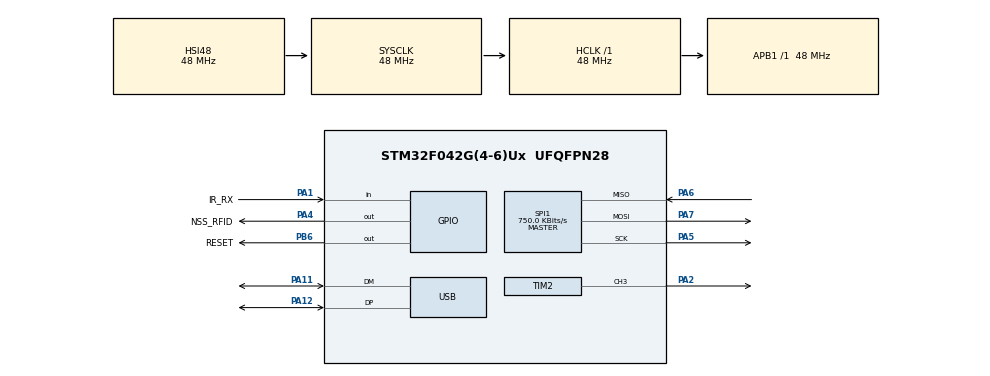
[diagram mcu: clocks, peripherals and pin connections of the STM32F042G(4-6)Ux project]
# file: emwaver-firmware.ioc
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Mcu.Family=STM32F0
Mcu.Name=STM32F042G(4-6)Ux
Mcu.Package=UFQFPN28
NVIC.TIM3_IRQn=true\:0\:0\:false\:false\:true\:true\:true\:true
NVIC.USB_IRQn=true\:3\:0\:true\:false\:true\:false\:true\:true
PA1.GPIO_Label=IR_RX
PA1.Signal=GPIO_Input
PA11.Mode=Device
PA11.Signal=USB_DM
PA12.Mode=Device
PA12.Signal=USB_DP
PA2.GPIO_PuPd=GPIO_PULLDOWN
PA2.Signal=S_TIM2_CH3
PA4.GPIO_Label=NSS_RFID
PA4.PinState=GPIO_PIN_SET
PA4.Signal=GPIO_Output
PA5.Mode=Full_Duplex_Master
PA5.Signal=SPI1_SCK
PA6.Mode=Full_Duplex_Master
PA6.Signal=SPI1_MISO
PA7.Mode=Full_Duplex_Master
PA7.Signal=SPI1_MOSI
PB6.GPIO_Label=RESET
PB6.Signal=GPIO_Output
ProjectManager.HeapSize=0x200
ProjectManager.StackSize=0x400
ProjectManager.TargetToolchain=STM32CubeIDE
RCC.AHBFreq_Value=48000000
RCC.APB1Freq_Value=48000000
RCC.APB1TimFreq_Value=48000000
RCC.HCLKFreq_Value=48000000
RCC.SYSCLKFreq_VALUE=48000000
RCC.SYSCLKSource=RCC_SYSCLKSOURCE_HSI48
SH.S_TIM2_CH3.0=TIM2_CH3,PWM Generation3 CH3
SPI1.BaudRatePrescaler=SPI_BAUDRATEPRESCALER_64
SPI1.CalculateBaudRate=750.0 KBits/s
SPI1.DataSize=SPI_DATASIZE_8BIT
SPI1.Direction=SPI_DIRECTION_2LINES
SPI1.Mode=SPI_MODE_MASTER
SPI1.VirtualType=VM_MASTER
TIM1.Period=0xFFFF - 1
TIM1.Prescaler=48-1
TIM2.Channel-PWM\ Generation3\ CH3=TIM_CHANNEL_3
TIM2.Period=1263-1
TIM2.Pulse-PWM\ Generation3\ CH3=(1263-1)/2
TIM3.Period=480-1
USB_DEVICE.APP_RX_DATA_SIZE=64
USB_DEVICE.APP_TX_DATA_SIZE=64
USB_DEVICE.CLASS_NAME_FS=CDC
USB_DEVICE.VirtualMode=Cdc
USB_DEVICE.VirtualModeFS=Cdc_FS
VP_SYS_VS_PINREMAP.Mode=PINREMAP
VP_TIM1_VS_ClockSourceINT.Mode=Internal
VP_TIM2_VS_ClockSourceINT.Mode=Internal
VP_TIM3_VS_ClockSourceINT.Mode=Internal
VP_USB_DEVICE_VS_USB_DEVICE_CDC_FS.Mode=CDC_FS
board=custom

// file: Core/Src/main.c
/* USER CODE BEGIN Header */
/**
  ******************************************************************************
  * @file           : main.c
  * @brief          : Main program body
  ******************************************************************************
  * @attention
  *
  * Copyright (c) 2024 STMicroelectronics.
  * All rights reserved.
  *
  * This software is licensed under terms that can be found in the LICENSE file
  * in the root directory of this software component.
  * If no LICENSE file comes with this software, it is provided AS-IS.
  *
  ******************************************************************************
  *
  * EMWaver modifications
  * Copyright (c) 2026 Luís Marnoto
*/
/* USER CODE END Header */
#include "main.h"
#include "usb_device.h"

/* USER CODE BEGIN Includes */
#include <stdlib.h>
#include <string.h>
#include <stdbool.h>
#include <stdint.h>
#include "usbd_cdc_if.h"
#include "cc1101.h"
/* USER CODE END Includes */

/* USER CODE BEGIN PD */
#define CDC_TIMEOUT 100
#define EMWAVER_FIRMWARE_WELCOME "Welcome to ISM Waver firmware"
#define EMWAVER_FIRMWARE_VERSION "1.0.0"
/* USER CODE END PD */

SPI_HandleTypeDef hspi1;

TIM_HandleTypeDef htim1;
TIM_HandleTypeDef htim2;
TIM_HandleTypeDef htim3;

/* USER CODE BEGIN PV */
static GPIO_TypeDef *samplerPort = GPIOA;
static uint16_t samplerPin = GPIO_PIN_0;
volatile uint32_t selectedChannel = TIM_CHANNEL_3; // Default to channel 3 for backward compatibility

uint8_t * bulk_packet = NULL;
size_t bulk_packet_len = 0;

volatile uint8_t* bufferA = NULL;
volatile uint8_t* bufferB = NULL;
volatile uint8_t* currentBuffer = NULL;
volatile uint8_t* transmitBuffer = NULL;
volatile int bufferIndex = 0;
volatile uint8_t bufferReady = 0;

volatile CDC_Buffer_Type cdc_buf_type = CDC_BUFFER_PACKET;
/* USER CODE END PV */

void SystemClock_Config(void);
static void MX_GPIO_Init(void);
static void MX_TIM2_Init(void);
static void MX_TIM1_Init(void);
static void MX_TIM3_Init(void);
static void MX_SPI1_Init(void);

/* USER CODE BEGIN 0 */

#define ISM_BURST_MAX 64u

typedef enum {
    ISM_MODE_IDLE = 0,
    ISM_MODE_RAW_SAMPLING = 1,
} ism_mode_t;

static volatile ism_mode_t ism_mode = ISM_MODE_IDLE;

static void free_bulk_packet(void)
{
    if (bulk_packet != NULL) {
        free(bulk_packet);
        bulk_packet = NULL;
        bulk_packet_len = 0;
    }
}

static void command_send_ok(const uint8_t *data, size_t len)
{
    if (!data || len == 0) {
        uint8_t packet[64] = {0};
        packet[0] = 0x00;
        (void)CDC_SendResponsePkt_FS(packet, (uint16_t)sizeof(packet), CDC_TIMEOUT);
        return;
    }

    size_t offset = 0;
    while (offset < len) {
        uint8_t packet[64] = {0};
        size_t chunk = len - offset;
        if (chunk > sizeof(packet)) {
            chunk = sizeof(packet);
        }
        memcpy(packet, data + offset, chunk);
        (void)CDC_SendResponsePkt_FS(packet, (uint16_t)sizeof(packet), CDC_TIMEOUT);
        offset += chunk;
    }
}

static void command_send_err(const char *msg)
{
    (void)msg;
    // Match the registry firmware behavior: errors are best-effort no-ops.
    const uint8_t packet[64] = {0};
    (void)CDC_SendResponsePkt_FS((uint8_t *)packet, (uint16_t)sizeof(packet), CDC_TIMEOUT);
}

static void ISR_Sampler_raw(void)
{
    static uint8_t bitIndex = 0;
    static uint8_t currentByte = 0;

    uint8_t pin_state = HAL_GPIO_ReadPin(samplerPort, samplerPin);

    if (pin_state) {
        currentByte |= (uint8_t)(1u << bitIndex);
    } else {
        currentByte &= (uint8_t)~(1u << bitIndex);
    }

    bitIndex++;
    if (bitIndex >= 8) {
        currentBuffer[bufferIndex] = currentByte;
        bufferIndex++;
        bitIndex = 0;
        currentByte = 0;

        if (bufferIndex >= 64) {
            transmitBuffer = currentBuffer;
            currentBuffer = (currentBuffer == bufferA) ? bufferB : bufferA;
            bufferIndex = 0;
            bufferReady = 1;
        }
    }
}

static void startPWM_TIM2(uint32_t channel)
{
    TIM2->CR1 |= TIM_CR1_CEN;
    switch (channel) {
        case TIM_CHANNEL_1:
            TIM2->CCER |= TIM_CCER_CC1E;
            break;
        case TIM_CHANNEL_2:
            TIM2->CCER |= TIM_CCER_CC2E;
            break;
        case TIM_CHANNEL_3:
            TIM2->CCER |= TIM_CCER_CC3E;
            break;
        case TIM_CHANNEL_4:
            TIM2->CCER |= TIM_CCER_CC4E;
            break;
        default:
            break;
    }
}

static void stopPWM_TIM2(uint32_t channel)
{
    switch (channel) {
        case TIM_CHANNEL_1:
            TIM2->CCER &= (uint16_t)~TIM_CCER_CC1E;
            break;
        case TIM_CHANNEL_2:
            TIM2->CCER &= (uint16_t)~TIM_CCER_CC2E;
            break;
        case TIM_CHANNEL_3:
            TIM2->CCER &= (uint16_t)~TIM_CCER_CC3E;
            break;
        case TIM_CHANNEL_4:
            TIM2->CCER &= (uint16_t)~TIM_CCER_CC4E;
            break;
        default:
            break;
    }
}

static void ISR_Sampler_writing(void)
{
    static uint8_t bitIndex = 0;
    static uint8_t currentByte = 0;

    if (CDC_GetRxBufferBytesAvailable_FS() > 0) {
        if (bitIndex == 0) {
            (void)CDC_ReadRxBuffer_FS(&currentByte, 1);
        }

        if (currentByte & (uint8_t)(1u << bitIndex)) {
            startPWM_TIM2(selectedChannel);
        } else {
            stopPWM_TIM2(selectedChannel);
        }

        bitIndex++;
        if (bitIndex > 7) {
            bitIndex = 0;
        }
    } else {
        stopPWM_TIM2(selectedChannel);
    }
}

void HAL_TIM_PeriodElapsedCallback(TIM_HandleTypeDef *htim)
{
    if (htim == &htim3) {
        switch (CDC_GetBufferType_FS()) {
            case CDC_BUFFER_CIRCULAR:
                ISR_Sampler_writing();
                break;
            case CDC_BUFFER_DOUBLE:
                ISR_Sampler_raw();
                break;
            case CDC_BUFFER_PACKET:
            default:
                break;
        }
    }
}

static void enable_gpio_clock(GPIO_TypeDef *port)
{
    if (port == GPIOA) {
        __HAL_RCC_GPIOA_CLK_ENABLE();
    } else if (port == GPIOB) {
        __HAL_RCC_GPIOB_CLK_ENABLE();
    }
}

static void configurePin(GPIO_TypeDef *port, uint16_t pin, uint32_t mode, uint32_t pull)
{
    GPIO_InitTypeDef GPIO_InitStruct = {0};

    enable_gpio_clock(port);
    GPIO_InitStruct.Pin = pin;
    GPIO_InitStruct.Mode = mode;
    GPIO_InitStruct.Pull = pull;
    GPIO_InitStruct.Speed = GPIO_SPEED_FREQ_HIGH;
    if (mode == GPIO_MODE_AF_PP) {
        GPIO_InitStruct.Alternate = GPIO_AF2_TIM2;
    }
    HAL_GPIO_Init(port, &GPIO_InitStruct);
}

static void setDutyCycle_TIM2(uint32_t channel, uint8_t percentage)
{
    if (percentage < 1) percentage = 1;
    if (percentage > 100) percentage = 100;

    uint32_t period = TIM2->ARR;
    uint32_t new_ccr = (period * (uint32_t)percentage) / 100u;
    if (percentage >= 100) {
        // Ensure the output stays high for the full period.
        new_ccr = period + 1u;
    }

    switch (channel) {
        case TIM_CHANNEL_1:
            TIM2->CCR1 = new_ccr;
            break;
        case TIM_CHANNEL_2:
            TIM2->CCR2 = new_ccr;
            break;
        case TIM_CHANNEL_3:
            TIM2->CCR3 = new_ccr;
            break;
        case TIM_CHANNEL_4:
            TIM2->CCR4 = new_ccr;
            break;
        default:
            break;
    }
}

static bool setFrequency_TIM2(uint32_t freq_hz)
{
    if (freq_hz < 1u) {
        return false;
    }

    uint32_t timer_clk_hz = HAL_RCC_GetHCLKFreq();
    if (timer_clk_hz == 0u) {
        return false;
    }

    uint32_t ticks = timer_clk_hz / freq_hz;
    if (ticks < 1u) {
        return false;
    }

    // PWM frequency = timer_clk / (PSC+1) / (ARR+1). Keep PSC=0 and set ARR.
    uint32_t period = ticks - 1u;
    TIM2->PSC = 0u;
    TIM2->ARR = period;
    TIM2->EGR = TIM_EGR_UG;
    return true;
}

static void stop_sampling(void)
{
    HAL_TIM_Base_Stop_IT(&htim3);
    CDC_SetBufferType_FS(CDC_BUFFER_PACKET);

    free((void *)bufferA);
    free((void *)bufferB);
    bufferA = NULL;
    bufferB = NULL;
    currentBuffer = NULL;
    transmitBuffer = NULL;
    bufferIndex = 0;
    bufferReady = 0;
    ism_mode = ISM_MODE_IDLE;
}

static bool decode_encoded_pin(int encoded, GPIO_TypeDef **out_port, uint16_t *out_pin)
{
    if (!out_port || !out_pin) {
        return false;
    }
    if (encoded >= 0 && encoded <= 15) {
        *out_port = GPIOA;
        *out_pin = (uint16_t)(1u << encoded);
        return true;
    }
    if (encoded >= 16 && encoded <= 31) {
        *out_port = GPIOB;
        *out_pin = (uint16_t)(1u << (encoded - 16));
        return true;
    }
    return false;
}

static bool pin_mask_to_index(uint16_t pin_mask, uint8_t *out_index)
{
    if (!out_index) {
        return false;
    }
    if (pin_mask == 0) {
        return false;
    }
    for (uint8_t i = 0; i < 16; i++) {
        if (pin_mask == (uint16_t)(1u << i)) {
            *out_index = i;
            return true;
        }
    }
    return false;
}

static void gpio_write_latch(GPIO_TypeDef *port, uint16_t pin_mask, bool value)
{
    if (!port) {
        return;
    }
    if (value) {
        port->BSRR = pin_mask;
    } else {
        port->BSRR = (uint32_t)pin_mask << 16;
    }
}

static void disable_tim2_output_if_needed(GPIO_TypeDef *port, uint8_t pin_index)
{
    if (port != GPIOA) {
        return;
    }

    uint32_t channel = 0;
    uint16_t ccer_mask = 0;
    switch (pin_index) {
        case 0:
            channel = TIM_CHANNEL_1;
            ccer_mask = TIM_CCER_CC1E;
            break;
        case 1:
            channel = TIM_CHANNEL_2;
            ccer_mask = TIM_CCER_CC2E;
            break;
        case 2:
            channel = TIM_CHANNEL_3;
            ccer_mask = TIM_CCER_CC3E;
            break;
        case 3:
            channel = TIM_CHANNEL_4;
            ccer_mask = TIM_CCER_CC4E;
            break;
        default:
            return;
    }

    TIM2->CCER &= (uint16_t)~ccer_mask;
    (void)HAL_TIM_PWM_Stop(&htim2, channel);
}

static void gpio_set_mode(GPIO_TypeDef *port, uint16_t pin_mask, uint32_t mode, uint32_t pull)
{
    if (!port) {
        return;
    }
    enable_gpio_clock(port);
    HAL_GPIO_DeInit(port, pin_mask);
    configurePin(port, pin_mask, mode, pull);
}

// Minimal CLI parsing (copied/adapted from stm/emwaver-firmware command_registry.c).
#define CLI_MAX_ARGS 10
#define CLI_MAX_POSITIONAL 4
#define CLI_COMMAND_BUFFER 256

typedef struct {
    const char *key;
    const char *value;
} cli_arg_view_t;

typedef struct {
    char *verb;
    cli_arg_view_t args[CLI_MAX_ARGS];
    size_t arg_count;
    char *positional[CLI_MAX_POSITIONAL];
    size_t positional_count;
} cli_command_view_t;

static bool is_cli_space(char ch)
{
    return ch == ' ' || ch == '\t' || ch == '\r' || ch == '\n';
}

static char *next_token(char **cursor)
{
    if (!cursor || !*cursor) {
        return NULL;
    }

    char *p = *cursor;
    while (*p && is_cli_space(*p)) {
        p++;
    }
    if (!*p) {
        *cursor = p;
        return NULL;
    }

    char *start = p;
    while (*p && !is_cli_space(*p)) {
        p++;
    }
    if (*p) {
        *p = '\0';
        p++;
    }
    *cursor = p;
    return start;
}

static bool parse_cli_command_inplace(char *line, cli_command_view_t *out)
{
    if (!line || !out) {
        return false;
    }

    memset(out, 0, sizeof(*out));

    char *cursor = line;
    char *verb = next_token(&cursor);
    if (!verb) {
        return false;
    }
    out->verb = verb;

    char *pending = NULL;
    while (1) {
        char *token = pending ? pending : next_token(&cursor);
        pending = NULL;
        if (!token) {
            break;
        }

        if (strncmp(token, "--", 2) == 0) {
            char *key = token + 2;
            const char *value = NULL;
            char *eq = strchr(key, '=');
            if (eq) {
                *eq = '\0';
                value = eq + 1;
            } else {
                char *next = next_token(&cursor);
                if (!next) {
                    value = "1";
                } else if (strncmp(next, "--", 2) == 0) {
                    value = "1";
                    pending = next;
                } else {
                    value = next;
                }
            }
            if (out->arg_count < CLI_MAX_ARGS) {
                out->args[out->arg_count].key = key;
                out->args[out->arg_count].value = value ? value : "";
                out->arg_count++;
            }
        } else {
            if (out->positional_count < CLI_MAX_POSITIONAL) {
                out->positional[out->positional_count] = token;
                out->positional_count++;
            }
        }
    }

    return true;
}

static const char *cli_get_arg_view(const cli_command_view_t *cmd, const char *key)
{
    if (!cmd || !key) {
        return NULL;
    }
    for (size_t i = 0; i < cmd->arg_count; ++i) {
        if (cmd->args[i].key && strcmp(cmd->args[i].key, key) == 0) {
            return cmd->args[i].value;
        }
    }
    return NULL;
}

static bool cli_parse_int(const char *str, int *out_value)
{
    if (!str || !out_value) {
        return false;
    }
    char *end = NULL;
    long value = strtol(str, &end, 0);
    if (end == str || (end && *end != '\0')) {
        return false;
    }
    *out_value = (int)value;
    return true;
}

static int from_hex(char c)
{
    if (c >= '0' && c <= '9') return c - '0';
    if (c >= 'a' && c <= 'f') return 10 + (c - 'a');
    if (c >= 'A' && c <= 'F') return 10 + (c - 'A');
    return -1;
}

static bool cli_parse_hex_bytes(const char *str, uint8_t *out, size_t max_len, size_t *out_len)
{
    if (!str || !out || !out_len) {
        return false;
    }

    size_t written = 0;
    int pending = -1;

    for (const char *p = str; *p; ++p) {
        char c = *p;

        if (c == '0' && (p[1] == 'x' || p[1] == 'X')) {
            ++p;
            continue;
        }

        if (c == ' ' || c == '\t' || c == '\r' || c == '\n' || c == ',' || c == ':' || c == '_' || c == '-') {
            continue;
        }

        int nib = from_hex(c);
        if (nib < 0) {
            return false;
        }

        if (pending < 0) {
            pending = nib;
        } else {
            if (written >= max_len) {
                return false;
            }
            out[written++] = (uint8_t)((pending << 4) | nib);
            pending = -1;
        }
    }

    if (pending >= 0) {
        return false;
    }

    *out_len = written;
    return true;
}

static bool cc1101_set_modulation_and_power(int modulation, int dbm)
{
    // Copied from stm/emwaver-firmware (command-driven CC1101 implementation).
    static const int power_levels[8] = {-30, -20, -15, -10, 0, 5, 7, 10};
    static const uint8_t power_315[8] = {0x12, 0x0D, 0x1C, 0x34, 0x51, 0x85, 0xCB, 0xC2};
    static const uint8_t power_433[8] = {0x12, 0x0E, 0x1D, 0x34, 0x60, 0x84, 0xC8, 0xC0};
    static const uint8_t power_868[8] = {0x03, 0x0F, 0x1E, 0x27, 0x50, 0x81, 0xCB, 0xC2};
    static const uint8_t power_915[8] = {0x03, 0x0E, 0x1E, 0x27, 0x8E, 0xCD, 0xC7, 0xC0};

    int power_index = -1;
    for (int i = 0; i < 8; i++) {
        if (power_levels[i] == dbm) {
            power_index = i;
            break;
        }
    }
    if (power_index < 0) {
        return false;
    }

    const uint8_t freq2 = cc1101_read_reg(0x0D);
    const uint8_t freq1 = cc1101_read_reg(0x0E);
    const uint8_t freq0 = cc1101_read_reg(0x0F);
    const uint32_t freq_word = ((uint32_t)freq2 << 16) | ((uint32_t)freq1 << 8) | (uint32_t)freq0;
    const uint32_t freq_hz = (uint32_t)((((uint64_t)freq_word * 26000000ULL) + (1u << 15)) >> 16);

    const uint8_t *power_table = NULL;
    if (freq_hz >= 300000000u && freq_hz <= 348000000u) {
        power_table = power_315;
    } else if (freq_hz >= 378000000u && freq_hz <= 464000000u) {
        power_table = power_433;
    } else if (freq_hz >= 779000000u && freq_hz <= 899990000u) {
        power_table = power_868;
    } else if (freq_hz >= 900000000u && freq_hz <= 928000000u) {
        power_table = power_915;
    } else {
        return false;
    }

    uint8_t power_setting = power_table[power_index];

    uint8_t current_mdmcfg2 = cc1101_read_reg(0x12);
    uint8_t mdmcfg2_value = (uint8_t)((current_mdmcfg2 & 0x0F) | ((modulation & 0x07) << 4));
    uint8_t frend0_value = (modulation == 3) ? 0x11 : 0x10; // 3 == ASK/OOK in CC1101

    cc1101_write_reg(0x12, mdmcfg2_value);
    cc1101_write_reg(0x22, frend0_value);

    uint8_t pa_table[8] = {0};
    if (modulation == 3) {
        pa_table[0] = 0x00;
        pa_table[1] = power_setting;
    } else {
        pa_table[0] = power_setting;
        pa_table[1] = 0x00;
    }
    (void)cc1101_write_burst(0x3E, pa_table, sizeof(pa_table));
    return true;
}

// CC1101 helpers (ported from stm/emwaver-firmware to keep Android/ESP command parity).
#define CC1101_FOSC_HZ 26000000u
#define CC1101_REG_IOCFG2  0x00
#define CC1101_REG_IOCFG1  0x01
#define CC1101_REG_IOCFG0  0x02
#define CC1101_REG_FREQ2   0x0D
#define CC1101_REG_FREQ1   0x0E
#define CC1101_REG_FREQ0   0x0F
#define CC1101_REG_MDMCFG4 0x10
#define CC1101_REG_MDMCFG3 0x11
#define CC1101_REG_TEST0   0x2E
#define CC1101_REG_FSCAL2  0x24

static bool cc1101_parse_mhz_string_to_hz(const char *str, uint32_t *out_hz)
{
    if (!str || !out_hz) {
        return false;
    }

    uint64_t whole = 0;
    uint64_t frac = 0;
    uint32_t frac_digits = 0;
    bool seen_digit = false;
    bool seen_dot = false;

    for (const char *p = str; *p; ++p) {
        char c = *p;
        if (c >= '0' && c <= '9') {
            seen_digit = true;
            uint32_t d = (uint32_t)(c - '0');
            if (!seen_dot) {
                whole = whole * 10u + d;
            } else {
                if (frac_digits >= 6) {
                    return false;
                }
                frac = frac * 10u + d;
                frac_digits++;
            }
            continue;
        }

        if (c == '.' && !seen_dot) {
            seen_dot = true;
            continue;
        }

        return false;
    }

    if (!seen_digit) {
        return false;
    }

    while (frac_digits < 6) {
        frac *= 10u;
        frac_digits++;
    }

    uint64_t hz = whole * 1000000u + frac;
    if (hz == 0 || hz > 0xFFFFFFFFu) {
        return false;
    }

    *out_hz = (uint32_t)hz;
    return true;
}

static void cc1101_calibrate_for_freq_hz(uint32_t freq_hz)
{
    if ((freq_hz >= 300000000u && freq_hz <= 348000000u) ||
        (freq_hz >= 378000000u && freq_hz <= 464000000u) ||
        (freq_hz >= 779000000u && freq_hz <= 899990000u)) {
        uint32_t boundary_hz = 0;
        if (freq_hz >= 300000000u && freq_hz <= 348000000u) {
            boundary_hz = 322880000u;
        } else if (freq_hz >= 378000000u && freq_hz <= 464000000u) {
            boundary_hz = 430500000u;
        } else {
            boundary_hz = 861000000u;
        }

        if (freq_hz < boundary_hz) {
            cc1101_write_reg(CC1101_REG_TEST0, 0x0B);
        } else {
            cc1101_write_reg(CC1101_REG_TEST0, 0x09);
            uint8_t fscal2 = cc1101_read_reg(CC1101_REG_FSCAL2);
            if (fscal2 < 32) {
                cc1101_write_reg(CC1101_REG_FSCAL2, (uint8_t)(fscal2 + 32));
            }
        }
        return;
    }

    if (freq_hz >= 900000000u && freq_hz <= 928000000u) {
        cc1101_write_reg(CC1101_REG_TEST0, 0x09);
        uint8_t fscal2 = cc1101_read_reg(CC1101_REG_FSCAL2);
        if (fscal2 < 32) {
            cc1101_write_reg(CC1101_REG_FSCAL2, (uint8_t)(fscal2 + 32));
        }
    }
}

static bool cc1101_set_frequency_hz(uint32_t freq_hz)
{
    if (freq_hz == 0) {
        return false;
    }

    const uint64_t num = (uint64_t)freq_hz * (uint64_t)(1u << 16);
    const uint32_t freq_word = (uint32_t)((num + (CC1101_FOSC_HZ / 2u)) / (uint64_t)CC1101_FOSC_HZ);

    cc1101_write_reg(CC1101_REG_FREQ2, (uint8_t)((freq_word >> 16) & 0xFF));
    cc1101_write_reg(CC1101_REG_FREQ1, (uint8_t)((freq_word >> 8) & 0xFF));
    cc1101_write_reg(CC1101_REG_FREQ0, (uint8_t)(freq_word & 0xFF));

    cc1101_calibrate_for_freq_hz(freq_hz);
    return true;
}

static uint32_t cc1101_compute_bitrate_bps(uint8_t drate_e, uint8_t drate_m)
{
    const uint32_t denom_shift = 28u - (uint32_t)(drate_e & 0x0Fu);
    const uint64_t denom = 1ULL << denom_shift;
    const uint64_t num = (uint64_t)(256u + (uint32_t)drate_m) * (uint64_t)CC1101_FOSC_HZ;
    return (uint32_t)((num + (denom / 2u)) / denom);
}

static bool cc1101_set_datarate_bps(int bps)
{
    if (bps <= 0) {
        return false;
    }

    const uint32_t target = (uint32_t)bps;

    int best_m = 0;
    int best_e = 0;
    uint32_t best_error = 0xFFFFFFFFu;

    for (int e = 0; e <= 15; e++) {
        for (int m = 0; m <= 255; m++) {
            uint32_t bitrate = cc1101_compute_bitrate_bps((uint8_t)e, (uint8_t)m);
            uint32_t error = (bitrate >= target) ? (bitrate - target) : (target - bitrate);
            if (error < best_error) {
                best_error = (uint32_t)error;
                best_m = m;
                best_e = e;
            }
        }
    }

    uint8_t mdmcfg4 = cc1101_read_reg(CC1101_REG_MDMCFG4);
    uint8_t preserved_bw = mdmcfg4 & 0xF0;
    cc1101_write_reg(CC1101_REG_MDMCFG4, (uint8_t)(preserved_bw | (best_e & 0x0F)));
    cc1101_write_reg(CC1101_REG_MDMCFG3, (uint8_t)(best_m & 0xFF));
    return true;
}

/* USER CODE END 0 */

int main(void)
{

  /* MCU Configuration--------------------------------------------------------*/

  /* Reset of all peripherals, Initializes the Flash interface and the Systick. */
  HAL_Init();

  /* Configure the system clock */
  SystemClock_Config();

  /* Initialize all configured peripherals */
  MX_GPIO_Init();
  MX_TIM2_Init();
  MX_TIM1_Init();
  MX_USB_DEVICE_Init();
  MX_TIM3_Init();
  MX_SPI1_Init();
	  /* USER CODE BEGIN 2 */
	  cc1101_init();

	  /* USER CODE END 2 */

  /* Infinite loop */
  /* USER CODE BEGIN WHILE */
  while (1) {
      if (ism_mode == ISM_MODE_RAW_SAMPLING) {
          if (bufferReady == 1) {
              while (CDC_Transmit_FS((uint8_t *)transmitBuffer, 64) == USBD_BUSY) {
              }
              bufferReady = 0;
          }

          if (bulk_packet != NULL) {
              // `sample stop`
              if (bulk_packet_len >= 11 && memcmp((const void *)bulk_packet, "sample stop", 11) == 0) {
                  stop_sampling();
              }
              free_bulk_packet();
          }
          continue;
      }

      if (bulk_packet == NULL) {
          continue;
      }

      if (bulk_packet_len < 1) {
          command_send_err(NULL);
          free_bulk_packet();
          continue;
      }

      static char scratch_line[CLI_COMMAND_BUFFER + 1];
      size_t line_len = bulk_packet_len;
      if (line_len > CLI_COMMAND_BUFFER) {
          line_len = CLI_COMMAND_BUFFER;
      }
      size_t effective = 0;
      for (size_t i = 0; i < line_len; i++) {
          if (bulk_packet[i] == '\0') {
              break;
          }
          scratch_line[i] = (char)bulk_packet[i];
          effective++;
      }
      scratch_line[effective] = '\0';
      // Trim trailing whitespace/newlines.
      while (effective > 0 && is_cli_space(scratch_line[effective - 1])) {
          scratch_line[effective - 1] = '\0';
          effective--;
      }

      cli_command_view_t cmd;
      if (!parse_cli_command_inplace(scratch_line, &cmd)) {
          command_send_err(NULL);
          free_bulk_packet();
          continue;
      }

      if (cmd.verb && strcmp(cmd.verb, "version") == 0) {
          static const char msg[] = EMWAVER_FIRMWARE_WELCOME " " EMWAVER_FIRMWARE_VERSION;
          command_send_ok((const uint8_t *)msg, sizeof(msg) - 1u);
          free_bulk_packet();
          continue;
      }

	      if (cmd.verb && strcmp(cmd.verb, "cc1101") == 0 && cmd.positional_count > 0) {
	          const char *sub = cmd.positional[0];
	          if (strcmp(sub, "init") == 0) {
	              cc1101_init();
	              command_send_ok(NULL, 0);
          } else if (strcmp(sub, "apply_defaults") == 0) {
              cc1101_apply_defaults();
              command_send_ok(NULL, 0);
          } else if (strcmp(sub, "status") == 0) {
              uint8_t out = cc1101_is_initialized() ? 1u : 0u;
              command_send_ok(&out, 1);
          } else if (strcmp(sub, "probe") == 0) {
              uint8_t out[4] = {0};
              out[0] = (uint8_t)HAL_GPIO_ReadPin(CC1101_MISO_GPIO_Port, CC1101_MISO_Pin);
              HAL_GPIO_WritePin(CC1101_CS_GPIO_Port, CC1101_CS_Pin, GPIO_PIN_RESET);
              HAL_Delay(1);
              out[1] = (uint8_t)HAL_GPIO_ReadPin(CC1101_MISO_GPIO_Port, CC1101_MISO_Pin);
              HAL_GPIO_WritePin(CC1101_CS_GPIO_Port, CC1101_CS_Pin, GPIO_PIN_SET);
              out[2] = cc1101_read_reg(0x30); // PARTNUM
              out[3] = cc1101_read_reg(0x31); // VERSION
              command_send_ok(out, sizeof(out));
          } else if (strcmp(sub, "write") == 0) {
              int reg = 0, val = 0;
              const char *reg_str = cli_get_arg_view(&cmd, "reg");
              const char *val_str = cli_get_arg_view(&cmd, "val");
              if (!cli_parse_int(reg_str, &reg) || !cli_parse_int(val_str, &val)) {
                  command_send_err(NULL);
              } else {
                  cc1101_write_reg((uint8_t)reg, (uint8_t)val);
                  command_send_ok(NULL, 0);
              }
          } else if (strcmp(sub, "read") == 0) {
              int reg = 0;
              const char *reg_str = cli_get_arg_view(&cmd, "reg");
              if (!cli_parse_int(reg_str, &reg)) {
                  command_send_err(NULL);
              } else {
                  uint8_t value = cc1101_read_reg((uint8_t)reg);
                  command_send_ok(&value, 1);
              }
          } else if (strcmp(sub, "strobe") == 0) {
              int cmd_strobe = 0;
              const char *cmd_str = cli_get_arg_view(&cmd, "cmd");
              if (!cli_parse_int(cmd_str, &cmd_strobe)) {
                  command_send_err(NULL);
              } else {
                  (void)cc1101_strobe((uint8_t)cmd_strobe);
                  command_send_ok(NULL, 0);
              }
          } else if (strcmp(sub, "write_burst") == 0) {
              int reg = 0;
              const char *reg_str = cli_get_arg_view(&cmd, "reg");
              const char *data_str = cli_get_arg_view(&cmd, "data");
              uint8_t bytes[ISM_BURST_MAX] = {0};
              size_t bytes_len = 0;
              if (!cli_parse_int(reg_str, &reg) ||
                  !cli_parse_hex_bytes(data_str, bytes, sizeof(bytes), &bytes_len) ||
                  bytes_len == 0) {
                  command_send_err(NULL);
              } else {
                  (void)cc1101_write_burst((uint8_t)reg, bytes, bytes_len);
                  command_send_ok(NULL, 0);
              }
          } else if (strcmp(sub, "read_burst") == 0) {
              int reg = 0, len = 0;
              const char *reg_str = cli_get_arg_view(&cmd, "reg");
              const char *len_str = cli_get_arg_view(&cmd, "len");
              if (!cli_parse_int(reg_str, &reg) || !cli_parse_int(len_str, &len) || len <= 0) {
                  command_send_err(NULL);
              } else {
                  if (len > (int)ISM_BURST_MAX) {
                      len = (int)ISM_BURST_MAX;
                  }
                  uint8_t out[ISM_BURST_MAX] = {0};
                  cc1101_read_burst((uint8_t)reg, out, (size_t)len);
                  command_send_ok(out, (size_t)len);
              }
	          } else if (strcmp(sub, "set_mod_power") == 0) {
	              int mod = 0, dbm = 0;
	              const char *mod_str = cli_get_arg_view(&cmd, "mod");
	              const char *dbm_str = cli_get_arg_view(&cmd, "dbm");
	              if (!cli_parse_int(mod_str, &mod) || !cli_parse_int(dbm_str, &dbm)) {
	                  command_send_err(NULL);
	              } else if (!cc1101_set_modulation_and_power(mod, dbm)) {
	                  command_send_err(NULL);
	              } else {
	                  command_send_ok(NULL, 0);
	              }
	          } else if (strcmp(sub, "set_gdo") == 0) {
	              const char *data_str = cli_get_arg_view(&cmd, "data");
	              uint8_t bytes[8] = {0};
	              size_t bytes_len = 0;
	              if (!cli_parse_hex_bytes(data_str, bytes, sizeof(bytes), &bytes_len) || bytes_len != 3) {
	                  command_send_err(NULL);
	              } else {
	                  cc1101_write_reg(CC1101_REG_IOCFG2, bytes[0]);
	                  cc1101_write_reg(CC1101_REG_IOCFG1, bytes[1]);
	                  cc1101_write_reg(CC1101_REG_IOCFG0, bytes[2]);
	                  command_send_ok(NULL, 0);
	              }
	          } else if (strcmp(sub, "set_freq") == 0) {
	              const char *mhz_str = cli_get_arg_view(&cmd, "mhz");
	              uint32_t hz = 0;
	              if (!cc1101_parse_mhz_string_to_hz(mhz_str, &hz) || !cc1101_set_frequency_hz(hz)) {
	                  command_send_err(NULL);
	              } else {
	                  command_send_ok(NULL, 0);
	              }
	          } else if (strcmp(sub, "set_datarate") == 0) {
	              int bps = 0;
	              const char *bps_str = cli_get_arg_view(&cmd, "bps");
	              if (!cli_parse_int(bps_str, &bps) || !cc1101_set_datarate_bps(bps)) {
	                  command_send_err(NULL);
	              } else {
	                  command_send_ok(NULL, 0);
	              }
	          } else {
	              command_send_err(NULL);
	          }

          free_bulk_packet();
          continue;
      }

      if (cmd.verb && strcmp(cmd.verb, "sample") == 0 && cmd.positional_count > 0) {
          const char *sub = cmd.positional[0];
          if (strcmp(sub, "start") == 0) {
              int pin_enc = -1;
              const char *pin_str = cli_get_arg_view(&cmd, "pin");
              if (!cli_parse_int(pin_str, &pin_enc)) {
                  free_bulk_packet();
                  continue;
              }

              GPIO_TypeDef *port = NULL;
              uint16_t pin_mask = 0;
              if (!decode_encoded_pin(pin_enc, &port, &pin_mask)) {
                  free_bulk_packet();
                  continue;
              }

              uint32_t pull = (port == GPIOA && pin_mask == GPIO_PIN_1) ? GPIO_NOPULL : GPIO_PULLDOWN;
              configurePin(port, pin_mask, GPIO_MODE_INPUT, pull);
              samplerPort = port;
              samplerPin = pin_mask;

              bufferA = (uint8_t *)malloc(64);
              bufferB = (uint8_t *)malloc(64);
              if (bufferA == NULL || bufferB == NULL) {
                  free((void *)bufferA);
                  free((void *)bufferB);
                  bufferA = NULL;
                  bufferB = NULL;
                  free_bulk_packet();
                  continue;
              }
              currentBuffer = bufferA;
              transmitBuffer = NULL;
              bufferIndex = 0;
              bufferReady = 0;

              CDC_SetBufferType_FS(CDC_BUFFER_DOUBLE);
              ism_mode = ISM_MODE_RAW_SAMPLING;
              HAL_TIM_Base_Start_IT(&htim3);
          } else if (strcmp(sub, "stop") == 0) {
          } else {
          }

          free_bulk_packet();
          continue;
      }

      if (cmd.verb && strcmp(cmd.verb, "gpio") == 0 && cmd.positional_count > 0) {
          const char *sub = cmd.positional[0];
          if (strcmp(sub, "in") == 0 || strcmp(sub, "out") == 0 ||
              strcmp(sub, "read") == 0 || strcmp(sub, "high") == 0 ||
              strcmp(sub, "low") == 0 || strcmp(sub, "pull") == 0 ||
              strcmp(sub, "info") == 0) {
              int pin_enc = -1;
              const char *pin_str = cli_get_arg_view(&cmd, "pin");
              if (!cli_parse_int(pin_str, &pin_enc)) {
                  command_send_err(NULL);
                  free_bulk_packet();
                  continue;
              }

              GPIO_TypeDef *port = NULL;
              uint16_t pin_mask = 0;
              if (!decode_encoded_pin(pin_enc, &port, &pin_mask)) {
                  command_send_err(NULL);
                  free_bulk_packet();
                  continue;
              }

              uint8_t pin_index = 0;
              if (!pin_mask_to_index(pin_mask, &pin_index)) {
                  command_send_err(NULL);
                  free_bulk_packet();
                  continue;
              }

              disable_tim2_output_if_needed(port, pin_index);

              if (strcmp(sub, "in") == 0) {
                  gpio_set_mode(port, pin_mask, GPIO_MODE_INPUT, GPIO_NOPULL);
                  command_send_ok(NULL, 0);
              } else if (strcmp(sub, "out") == 0) {
                  gpio_set_mode(port, pin_mask, GPIO_MODE_OUTPUT_PP, GPIO_NOPULL);
                  command_send_ok(NULL, 0);
              } else if (strcmp(sub, "pull") == 0) {
                  int pull_mode = 0;
                  const char *mode_str = cli_get_arg_view(&cmd, "mode");
                  if (!cli_parse_int(mode_str, &pull_mode)) {
                      command_send_err(NULL);
                      free_bulk_packet();
                      continue;
                  }
                  uint32_t pull = GPIO_NOPULL;
                  if (pull_mode == 1) {
                      pull = GPIO_PULLUP;
                  } else if (pull_mode == 2) {
                      pull = GPIO_PULLDOWN;
                  } else if (pull_mode != 0) {
                      command_send_err(NULL);
                      free_bulk_packet();
                      continue;
                  }
                  gpio_set_mode(port, pin_mask, GPIO_MODE_INPUT, pull);
                  command_send_ok(NULL, 0);
              } else if (strcmp(sub, "read") == 0) {
                  gpio_set_mode(port, pin_mask, GPIO_MODE_INPUT, GPIO_NOPULL);
                  uint8_t out = (uint8_t)HAL_GPIO_ReadPin(port, pin_mask);
                  command_send_ok(&out, 1);
              } else if (strcmp(sub, "high") == 0 || strcmp(sub, "low") == 0) {
                  bool value = (strcmp(sub, "high") == 0);
                  gpio_write_latch(port, pin_mask, value);
                  gpio_set_mode(port, pin_mask, GPIO_MODE_OUTPUT_PP, GPIO_NOPULL);
                  HAL_GPIO_WritePin(port, pin_mask, value ? GPIO_PIN_SET : GPIO_PIN_RESET);
                  uint8_t out = (uint8_t)HAL_GPIO_ReadPin(port, pin_mask);
                  command_send_ok(&out, 1);
              } else if (strcmp(sub, "info") == 0) {
                  enable_gpio_clock(port);
                  uint32_t moder = port->MODER;
                  uint32_t otyper = port->OTYPER;
                  uint32_t pupdr = port->PUPDR;
                  uint32_t idr = port->IDR;
                  uint32_t odr = port->ODR;
                  uint32_t afr = (pin_index < 8) ? port->AFR[0] : port->AFR[1];

                  uint8_t mode = (uint8_t)((moder >> (pin_index * 2)) & 0x03);
                  uint8_t otype = (uint8_t)((otyper >> pin_index) & 0x01);
                  uint8_t pupd = (uint8_t)((pupdr >> (pin_index * 2)) & 0x03);
                  uint8_t idr_bit = (uint8_t)((idr >> pin_index) & 0x01);
                  uint8_t odr_bit = (uint8_t)((odr >> pin_index) & 0x01);
                  uint8_t af = (uint8_t)((afr >> ((pin_index % 8) * 4)) & 0x0F);

                  uint8_t response[6] = {mode, otype, pupd, af, idr_bit, odr_bit};
                  command_send_ok(response, sizeof(response));
              } else {
                  command_send_err(NULL);
              }

              free_bulk_packet();
              continue;
          }

          if (strcmp(sub, "R") == 0 && cmd.positional_count >= 3) {
              int port_int = 0;
              int pin_int = 0;
              if (!cli_parse_int(cmd.positional[1], &port_int) || !cli_parse_int(cmd.positional[2], &pin_int)) {
                  command_send_err(NULL);
                  free_bulk_packet();
                  continue;
              }
              GPIO_TypeDef *port = (port_int == 0) ? GPIOA : (port_int == 1) ? GPIOB : NULL;
              if (!port || pin_int < 0 || pin_int > 15) {
                  command_send_err(NULL);
                  free_bulk_packet();
                  continue;
              }
              uint16_t pin_mask = (uint16_t)(1u << (uint8_t)pin_int);
              disable_tim2_output_if_needed(port, (uint8_t)pin_int);
              gpio_set_mode(port, pin_mask, GPIO_MODE_INPUT, GPIO_NOPULL);
              uint8_t out = (uint8_t)HAL_GPIO_ReadPin(port, pin_mask);
              command_send_ok(&out, 1);
              free_bulk_packet();
              continue;
          }

          if (strcmp(sub, "W") == 0 && cmd.positional_count >= 4) {
              int port_int = 0;
              int pin_int = 0;
              int value_int = 0;
              if (!cli_parse_int(cmd.positional[1], &port_int) ||
                  !cli_parse_int(cmd.positional[2], &pin_int) ||
                  !cli_parse_int(cmd.positional[3], &value_int)) {
                  command_send_err(NULL);
                  free_bulk_packet();
                  continue;
              }
              GPIO_TypeDef *port = (port_int == 0) ? GPIOA : (port_int == 1) ? GPIOB : NULL;
              if (!port || pin_int < 0 || pin_int > 15) {
                  command_send_err(NULL);
                  free_bulk_packet();
                  continue;
              }
              uint16_t pin_mask = (uint16_t)(1u << (uint8_t)pin_int);
              disable_tim2_output_if_needed(port, (uint8_t)pin_int);
              bool value = value_int ? true : false;
              gpio_write_latch(port, pin_mask, value);
              gpio_set_mode(port, pin_mask, GPIO_MODE_OUTPUT_PP, GPIO_NOPULL);
              HAL_GPIO_WritePin(port, pin_mask, value ? GPIO_PIN_SET : GPIO_PIN_RESET);
              uint8_t out = (uint8_t)HAL_GPIO_ReadPin(port, pin_mask);
              command_send_ok(&out, 1);
              free_bulk_packet();
              continue;
          }

          if (strcmp(sub, "I") == 0 && cmd.positional_count >= 3) {
              int port_int = 0;
              int pin_int = 0;
              if (!cli_parse_int(cmd.positional[1], &port_int) || !cli_parse_int(cmd.positional[2], &pin_int)) {
                  command_send_err(NULL);
                  free_bulk_packet();
                  continue;
              }
              GPIO_TypeDef *port = (port_int == 0) ? GPIOA : (port_int == 1) ? GPIOB : NULL;
              if (!port || pin_int < 0 || pin_int > 15) {
                  command_send_err(NULL);
                  free_bulk_packet();
                  continue;
              }
              enable_gpio_clock(port);
              uint32_t moder = port->MODER;
              uint32_t otyper = port->OTYPER;
              uint32_t pupdr = port->PUPDR;
              uint32_t idr = port->IDR;
              uint32_t odr = port->ODR;
              uint32_t afr = (pin_int < 8) ? port->AFR[0] : port->AFR[1];

              uint8_t mode = (uint8_t)((moder >> (pin_int * 2)) & 0x03);
              uint8_t otype = (uint8_t)((otyper >> pin_int) & 0x01);
              uint8_t pupd = (uint8_t)((pupdr >> (pin_int * 2)) & 0x03);
              uint8_t idr_bit = (uint8_t)((idr >> pin_int) & 0x01);
              uint8_t odr_bit = (uint8_t)((odr >> pin_int) & 0x01);
              uint8_t af = (uint8_t)((afr >> ((pin_int % 8) * 4)) & 0x0F);

              uint8_t response[6] = {mode, otype, pupd, af, idr_bit, odr_bit};
              command_send_ok(response, sizeof(response));
              free_bulk_packet();
              continue;
          }

          command_send_err(NULL);
          free_bulk_packet();
          continue;
      }

      if (cmd.verb && strcmp(cmd.verb, "transmit") == 0 && cmd.positional_count > 0) {
          const char *sub = cmd.positional[0];
          if (strcmp(sub, "start") == 0) {
              int pin_enc = -1;
              const char *pin_str = cli_get_arg_view(&cmd, "pin");
              if (!cli_parse_int(pin_str, &pin_enc)) {
                  command_send_err(NULL);
                  free_bulk_packet();
                  continue;
              }
              if (pin_enc < 0 || pin_enc > 3) {
                  command_send_err(NULL);
                  free_bulk_packet();
                  continue;
              }

              int freq_hz = 38000;
              const char *freq_str = cli_get_arg_view(&cmd, "freq");
              if (freq_str != NULL) {
                  int parsed = 0;
                  if (!cli_parse_int(freq_str, &parsed) || parsed < 1) {
                      command_send_err(NULL);
                      free_bulk_packet();
                      continue;
                  }
                  freq_hz = parsed;
              }

              int duty_percent = 100;
              const char *duty_str = cli_get_arg_view(&cmd, "duty");
              if (duty_str != NULL) {
                  int parsed = 0;
                  if (!cli_parse_int(duty_str, &parsed) || parsed < 1 || parsed > 100) {
                      command_send_err(NULL);
                      free_bulk_packet();
                      continue;
                  }
                  duty_percent = parsed;
              }

              uint32_t tim_channel = 0;
              uint16_t gpio_pin = 0;
              switch (pin_enc) {
                  case 0: tim_channel = TIM_CHANNEL_1; gpio_pin = GPIO_PIN_0; break;
                  case 1: tim_channel = TIM_CHANNEL_2; gpio_pin = GPIO_PIN_1; break;
                  case 2: tim_channel = TIM_CHANNEL_3; gpio_pin = GPIO_PIN_2; break;
                  case 3: tim_channel = TIM_CHANNEL_4; gpio_pin = GPIO_PIN_3; break;
              }

              // Keep the legacy "tran" flow:
              // - switch to circular RX buffer
              // - wait for initial fill (or timeout)
              // - enable TIM3 ISR which drains RX buffer into PWM gating
              // - block until RX buffer drains to 0
              configurePin(GPIOA, gpio_pin, GPIO_MODE_AF_PP, GPIO_PULLDOWN);
              if (!setFrequency_TIM2((uint32_t)freq_hz)) {
                  command_send_err(NULL);
                  free_bulk_packet();
                  continue;
              }
              setDutyCycle_TIM2(tim_channel, (uint8_t)duty_percent);
              selectedChannel = tim_channel;
              (void)HAL_TIM_PWM_Start(&htim2, tim_channel);

              CDC_InitRxBuffer_FS();
              CDC_SetBufferType_FS(CDC_BUFFER_CIRCULAR);

              uint32_t start = HAL_GetTick();
              while (CDC_GetRxBufferBytesAvailable_FS() < 250) {
                  if ((HAL_GetTick() - start) > 2000) {
                      break;
                  }
              }

              HAL_TIM_Base_Start_IT(&htim3);
              while (CDC_GetRxBufferBytesAvailable_FS() != 0) {
              }

              HAL_TIM_Base_Stop_IT(&htim3);
              CDC_SetBufferType_FS(CDC_BUFFER_PACKET);
              stopPWM_TIM2(tim_channel);
              CDC_FlushRxBuffer_FS();
              CDC_FreeRxBuffer_FS();

              command_send_ok(NULL, 0);
          } else if (strcmp(sub, "stop") == 0) {
              command_send_ok(NULL, 0);
          } else {
              command_send_err(NULL);
          }

          free_bulk_packet();
          continue;
      }

      command_send_err(NULL);
      free_bulk_packet();
  }
  /* USER CODE END 3 */
}

void SystemClock_Config(void)
{
  RCC_OscInitTypeDef RCC_OscInitStruct = {0};
  RCC_ClkInitTypeDef RCC_ClkInitStruct = {0};
  RCC_PeriphCLKInitTypeDef PeriphClkInit = {0};

  /** Initializes the RCC Oscillators according to the specified parameters
  * in the RCC_OscInitTypeDef structure.
  */
  RCC_OscInitStruct.OscillatorType = RCC_OSCILLATORTYPE_HSI48;
  RCC_OscInitStruct.HSI48State = RCC_HSI48_ON;
  RCC_OscInitStruct.PLL.PLLState = RCC_PLL_NONE;
  if (HAL_RCC_OscConfig(&RCC_OscInitStruct) != HAL_OK)
  {
    Error_Handler();
  }

  /** Initializes the CPU, AHB and APB buses clocks
  */
  RCC_ClkInitStruct.ClockType = RCC_CLOCKTYPE_HCLK|RCC_CLOCKTYPE_SYSCLK
                              |RCC_CLOCKTYPE_PCLK1;
  RCC_ClkInitStruct.SYSCLKSource = RCC_SYSCLKSOURCE_HSI48;
  RCC_ClkInitStruct.AHBCLKDivider = RCC_SYSCLK_DIV1;
  RCC_ClkInitStruct.APB1CLKDivider = RCC_HCLK_DIV1;

  if (HAL_RCC_ClockConfig(&RCC_ClkInitStruct, FLASH_LATENCY_1) != HAL_OK)
  {
    Error_Handler();
  }
  PeriphClkInit.PeriphClockSelection = RCC_PERIPHCLK_USB;
  PeriphClkInit.UsbClockSelection = RCC_USBCLKSOURCE_HSI48;

  if (HAL_RCCEx_PeriphCLKConfig(&PeriphClkInit) != HAL_OK)
  {
    Error_Handler();
  }
}

static void MX_SPI1_Init(void)
{

  /* SPI1 parameter configuration*/
  hspi1.Instance = SPI1;
  hspi1.Init.Mode = SPI_MODE_MASTER;
  hspi1.Init.Direction = SPI_DIRECTION_2LINES;
  hspi1.Init.DataSize = SPI_DATASIZE_8BIT;
  hspi1.Init.CLKPolarity = SPI_POLARITY_LOW;
  hspi1.Init.CLKPhase = SPI_PHASE_1EDGE;
  hspi1.Init.NSS = SPI_NSS_SOFT;
  hspi1.Init.BaudRatePrescaler = SPI_BAUDRATEPRESCALER_64;
  hspi1.Init.FirstBit = SPI_FIRSTBIT_MSB;
  hspi1.Init.TIMode = SPI_TIMODE_DISABLE;
  hspi1.Init.CRCCalculation = SPI_CRCCALCULATION_DISABLE;
  hspi1.Init.CRCPolynomial = 7;
  hspi1.Init.CRCLength = SPI_CRC_LENGTH_DATASIZE;
  hspi1.Init.NSSPMode = SPI_NSS_PULSE_DISABLE;
  if (HAL_SPI_Init(&hspi1) != HAL_OK)
  {
    Error_Handler();
  }

}

static void MX_TIM1_Init(void)
{

  TIM_ClockConfigTypeDef sClockSourceConfig = {0};
  TIM_MasterConfigTypeDef sMasterConfig = {0};

  htim1.Instance = TIM1;
  htim1.Init.Prescaler = 48-1;
  htim1.Init.CounterMode = TIM_COUNTERMODE_UP;
  htim1.Init.Period = 0xFFFF - 1;
  htim1.Init.ClockDivision = TIM_CLOCKDIVISION_DIV1;
  htim1.Init.RepetitionCounter = 0;
  htim1.Init.AutoReloadPreload = TIM_AUTORELOAD_PRELOAD_DISABLE;
  if (HAL_TIM_Base_Init(&htim1) != HAL_OK)
  {
    Error_Handler();
  }
  sClockSourceConfig.ClockSource = TIM_CLOCKSOURCE_INTERNAL;
  if (HAL_TIM_ConfigClockSource(&htim1, &sClockSourceConfig) != HAL_OK)
  {
    Error_Handler();
  }
  sMasterConfig.MasterOutputTrigger = TIM_TRGO_RESET;
  sMasterConfig.MasterSlaveMode = TIM_MASTERSLAVEMODE_DISABLE;
  if (HAL_TIMEx_MasterConfigSynchronization(&htim1, &sMasterConfig) != HAL_OK)
  {
    Error_Handler();
  }

}

static void MX_TIM2_Init(void)
{

  TIM_ClockConfigTypeDef sClockSourceConfig = {0};
  TIM_MasterConfigTypeDef sMasterConfig = {0};
  TIM_OC_InitTypeDef sConfigOC = {0};

  htim2.Instance = TIM2;
  htim2.Init.Prescaler = 0;
  htim2.Init.CounterMode = TIM_COUNTERMODE_UP;
  htim2.Init.Period = 1263-1;
  htim2.Init.ClockDivision = TIM_CLOCKDIVISION_DIV1;
  htim2.Init.AutoReloadPreload = TIM_AUTORELOAD_PRELOAD_DISABLE;
  if (HAL_TIM_Base_Init(&htim2) != HAL_OK)
  {
    Error_Handler();
  }
  sClockSourceConfig.ClockSource = TIM_CLOCKSOURCE_INTERNAL;
  if (HAL_TIM_ConfigClockSource(&htim2, &sClockSourceConfig) != HAL_OK)
  {
    Error_Handler();
  }
  if (HAL_TIM_PWM_Init(&htim2) != HAL_OK)
  {
    Error_Handler();
  }
  sMasterConfig.MasterOutputTrigger = TIM_TRGO_RESET;
  sMasterConfig.MasterSlaveMode = TIM_MASTERSLAVEMODE_DISABLE;
  if (HAL_TIMEx_MasterConfigSynchronization(&htim2, &sMasterConfig) != HAL_OK)
  {
    Error_Handler();
  }
  sConfigOC.OCMode = TIM_OCMODE_PWM1;
  sConfigOC.Pulse = (1263-1)/2;
  sConfigOC.OCPolarity = TIM_OCPOLARITY_HIGH;
  sConfigOC.OCFastMode = TIM_OCFAST_DISABLE;
  if (HAL_TIM_PWM_ConfigChannel(&htim2, &sConfigOC, TIM_CHANNEL_3) != HAL_OK)
  {
    Error_Handler();
  }
  /* USER CODE BEGIN TIM2_Init 2 */
  // Configure Channel 1 (PA0)
  if (HAL_TIM_PWM_ConfigChannel(&htim2, &sConfigOC, TIM_CHANNEL_1) != HAL_OK)
  {
    Error_Handler();
  }

  // Configure Channel 2 (PA1)
  if (HAL_TIM_PWM_ConfigChannel(&htim2, &sConfigOC, TIM_CHANNEL_2) != HAL_OK)
  {
    Error_Handler();
  }

  // Configure Channel 3 (PA2)
  if (HAL_TIM_PWM_ConfigChannel(&htim2, &sConfigOC, TIM_CHANNEL_3) != HAL_OK)
  {
    Error_Handler();
  }

  // Configure Channel 4 (PA3)
  if (HAL_TIM_PWM_ConfigChannel(&htim2, &sConfigOC, TIM_CHANNEL_4) != HAL_OK)
  {
    Error_Handler();
  }
  /* USER CODE END TIM2_Init 2 */
  HAL_TIM_MspPostInit(&htim2);

}

static void MX_TIM3_Init(void)
{

  TIM_ClockConfigTypeDef sClockSourceConfig = {0};
  TIM_MasterConfigTypeDef sMasterConfig = {0};

  htim3.Instance = TIM3;
  htim3.Init.Prescaler = 0;
  htim3.Init.CounterMode = TIM_COUNTERMODE_UP;
  htim3.Init.Period = 480-1;
  htim3.Init.ClockDivision = TIM_CLOCKDIVISION_DIV1;
  htim3.Init.AutoReloadPreload = TIM_AUTORELOAD_PRELOAD_DISABLE;
  if (HAL_TIM_Base_Init(&htim3) != HAL_OK)
  {
    Error_Handler();
  }
  sClockSourceConfig.ClockSource = TIM_CLOCKSOURCE_INTERNAL;
  if (HAL_TIM_ConfigClockSource(&htim3, &sClockSourceConfig) != HAL_OK)
  {
    Error_Handler();
  }
  sMasterConfig.MasterOutputTrigger = TIM_TRGO_RESET;
  sMasterConfig.MasterSlaveMode = TIM_MASTERSLAVEMODE_DISABLE;
  if (HAL_TIMEx_MasterConfigSynchronization(&htim3, &sMasterConfig) != HAL_OK)
  {
    Error_Handler();
  }

}

static void MX_GPIO_Init(void)
{
  GPIO_InitTypeDef GPIO_InitStruct = {0};
/* USER CODE BEGIN MX_GPIO_Init_1 */
  // VCTL (antenna switch): PB0 low selects the 433 MHz antenna path.
/* USER CODE END MX_GPIO_Init_1 */

  /* GPIO Ports Clock Enable */
  __HAL_RCC_GPIOA_CLK_ENABLE();
  __HAL_RCC_GPIOB_CLK_ENABLE();

  /* USER CODE BEGIN MX_GPIO_Init_1b */
  // Drive VCTL low as early as possible (before configuring the pin) to avoid glitches.
  HAL_GPIO_WritePin(GPIOB, GPIO_PIN_0, GPIO_PIN_RESET);
  /* USER CODE END MX_GPIO_Init_1b */

  /*Configure GPIO pin Output Level */
  HAL_GPIO_WritePin(NSS_RFID_GPIO_Port, NSS_RFID_Pin, GPIO_PIN_SET);

  /*Configure GPIO pin Output Level */
  HAL_GPIO_WritePin(RESET_GPIO_Port, RESET_Pin, GPIO_PIN_RESET);

  /*Configure GPIO pin : IR_RX_Pin */
  GPIO_InitStruct.Pin = IR_RX_Pin;
  GPIO_InitStruct.Mode = GPIO_MODE_INPUT;
  GPIO_InitStruct.Pull = GPIO_NOPULL;
  HAL_GPIO_Init(IR_RX_GPIO_Port, &GPIO_InitStruct);

  /*Configure GPIO pin : NSS_RFID_Pin */
  GPIO_InitStruct.Pin = NSS_RFID_Pin;
  GPIO_InitStruct.Mode = GPIO_MODE_OUTPUT_PP;
  GPIO_InitStruct.Pull = GPIO_NOPULL;
  GPIO_InitStruct.Speed = GPIO_SPEED_FREQ_HIGH;
  HAL_GPIO_Init(NSS_RFID_GPIO_Port, &GPIO_InitStruct);

  /*Configure GPIO pin : RESET_Pin */
  GPIO_InitStruct.Pin = RESET_Pin;
  GPIO_InitStruct.Mode = GPIO_MODE_OUTPUT_PP;
  GPIO_InitStruct.Pull = GPIO_NOPULL;
  GPIO_InitStruct.Speed = GPIO_SPEED_FREQ_LOW;
  HAL_GPIO_Init(RESET_GPIO_Port, &GPIO_InitStruct);

/* USER CODE BEGIN MX_GPIO_Init_2 */
  /*Configure GPIO pin : PB0 (VCTL) */
  GPIO_InitStruct.Pin = GPIO_PIN_0;
  GPIO_InitStruct.Mode = GPIO_MODE_OUTPUT_PP;
  GPIO_InitStruct.Pull = GPIO_NOPULL;
  GPIO_InitStruct.Speed = GPIO_SPEED_FREQ_LOW;
  HAL_GPIO_Init(GPIOB, &GPIO_InitStruct);
/* USER CODE END MX_GPIO_Init_2 */
}

void Error_Handler(void)
{
  __disable_irq();
  while (1)
  {
  }
}
